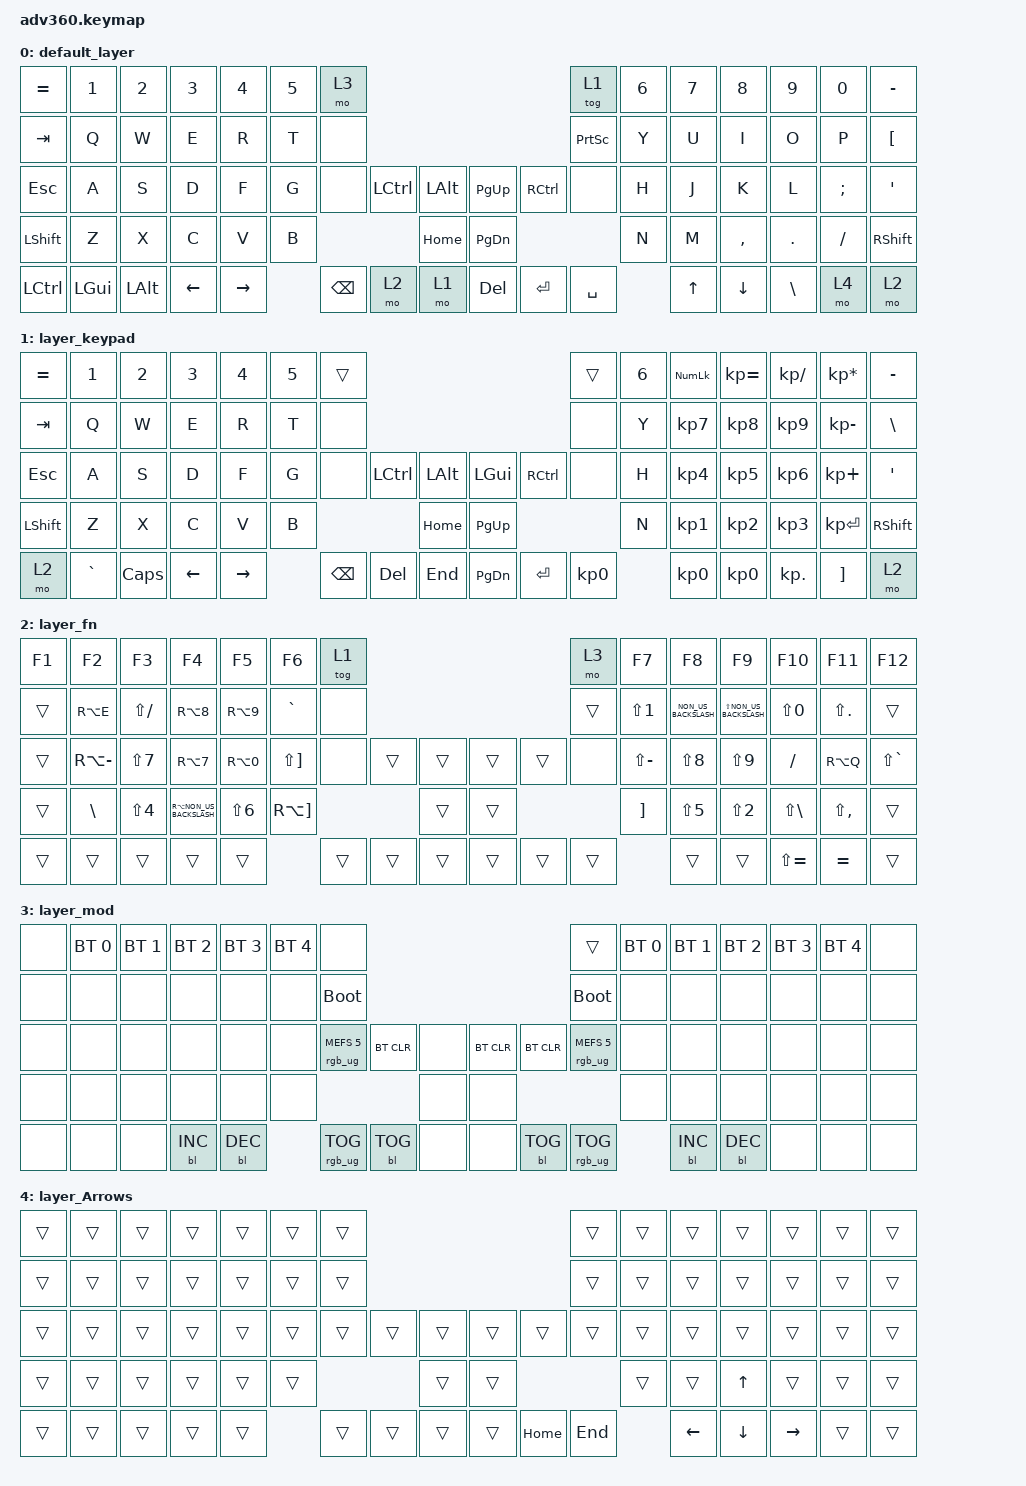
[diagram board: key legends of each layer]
/*
 * Copyright (c) 2020 The ZMK Contributors
 *
 * SPDX-License-Identifier: MIT
 */
/* THIS FILE WAS GENERATED!
 *
 * This file was generated automatically. You may or may not want to
 * edit it directly.
 */

#include <behaviors.dtsi>
#include <dt-bindings/zmk/backlight.h>
#include <dt-bindings/zmk/bt.h>
#include <dt-bindings/zmk/keys.h>
#include <dt-bindings/zmk/rgb.h>

/ {
    behaviors {
        #include "macros.dtsi"

        hm: homerow_mods {
            compatible = "zmk,behavior-hold-tap";
            label = "HOMEROW_MODS";
            #binding-cells = <2>;
            tapping-term-ms = <200>;
            quick_tap_ms = <175>;
            flavor = "tap-preferred";
            bindings = <&kp>, <&kp>;
        };
    };

    keymap {
        compatible = "zmk,keymap";

        default_layer {
            bindings = <
&kp EQUAL  &kp N1    &kp N2        &kp N3    &kp N4     &kp N5  &mo 3                                                    &tog 1           &kp N6  &kp N7  &kp N8     &kp N9    &kp N0    &kp MINUS
&kp TAB    &kp Q     &kp W         &kp E     &kp R      &kp T   &none                                                    &kp PRINTSCREEN  &kp Y   &kp U   &kp I      &kp O     &kp P     &kp LBKT
&kp ESC    &kp A     &kp S         &kp D     &kp F      &kp G   &none     &kp LCTRL  &kp LALT      &kp PG_UP  &kp RCTRL  &none            &kp H   &kp J   &kp K      &kp L     &kp SEMI  &kp SQT
&kp LSHFT  &kp Z     &kp X         &kp C     &kp V      &kp B                        &kp HOME      &kp PG_DN                              &kp N   &kp M   &kp COMMA  &kp DOT   &kp FSLH  &kp RSHFT
&kp LCTRL  &kp LGUI  &kp LEFT_ALT  &kp LEFT  &kp RIGHT          &kp BSPC  &mo 2      &mo 1         &kp DEL    &kp ENTER  &kp SPACE                &kp UP  &kp DOWN   &kp BSLH  &mo 4     &mo 2
            >;
        };

        layer_keypad {
            bindings = <
&kp EQUAL  &kp N1     &kp N2    &kp N3    &kp N4     &kp N5  &trans                                                   &trans     &kp N6  &kp KP_NUM  &kp KP_EQUAL  &kp KP_DIVIDE  &kp KP_MULTIPLY  &kp MINUS
&kp TAB    &kp Q      &kp W     &kp E     &kp R      &kp T   &none                                                    &none      &kp Y   &kp KP_N7   &kp KP_N8     &kp KP_N9      &kp KP_MINUS     &kp BSLH
&kp ESC    &kp A      &kp S     &kp D     &kp F      &kp G   &none     &kp LCTRL  &kp LALT      &kp LGUI   &kp RCTRL  &none      &kp H   &kp KP_N4   &kp KP_N5     &kp KP_N6      &kp KP_PLUS      &kp SQT
&kp LSHFT  &kp Z      &kp X     &kp C     &kp V      &kp B                        &kp HOME      &kp PG_UP                        &kp N   &kp KP_N1   &kp KP_N2     &kp KP_N3      &kp KP_ENTER     &kp RSHFT
&mo 2      &kp GRAVE  &kp CAPS  &kp LEFT  &kp RIGHT          &kp BSPC  &kp DEL    &kp END       &kp PG_DN  &kp ENTER  &kp KP_N0          &kp KP_N0   &kp KP_N0     &kp KP_DOT     &kp RBKT         &mo 2
            >;
        };

        layer_fn {
            bindings = <
&kp F1  &kp F2         &kp F3        &kp F4                    &kp F5      &kp F6                 &tog 1                                      &mo 3   &kp F7         &kp F8                &kp F9                    &kp F10        &kp F11        &kp F12
&trans  &kp RA(E)      &kp LS(FSLH)  &kp RA(N8)                &kp RA(N9)  &kp GRAVE              &none                                       &trans  &kp LS(N1)     &kp NON_US_BACKSLASH  &kp LS(NON_US_BACKSLASH)  &kp LS(N0)     &kp LS(DOT)    &trans
&trans  &kp RA(MINUS)  &kp LS(N7)    &kp RA(N7)                &kp RA(N0)  &kp LS(RBKT)           &none   &trans  &trans      &trans  &trans  &none   &kp LS(MINUS)  &kp LS(N8)            &kp LS(N9)                &kp FSLH       &kp RA(Q)      &kp LS(GRAVE)
&trans  &kp BSLH       &kp LS(N4)    &kp RA(NON_US_BACKSLASH)  &kp LS(N6)  &kp RA(RIGHT_BRACKET)                  &trans      &trans                  &kp RBKT       &kp LS(N5)            &kp LS(N2)                &kp LS(BSLH)   &kp LS(COMMA)  &trans
&trans  &trans         &trans        &trans                    &trans                             &trans  &trans  &trans      &trans  &trans  &trans                 &trans                &trans                    &kp LS(EQUAL)  &kp EQUAL      &trans
            >;
        };

        layer_mod {
            bindings = <
&none  &bt BT_SEL 0  &bt BT_SEL 1  &bt BT_SEL 2  &bt BT_SEL 3  &bt BT_SEL 4  &none                                                                  &trans                  &bt BT_SEL 0  &bt BT_SEL 1  &bt BT_SEL 2  &bt BT_SEL 3  &bt BT_SEL 4  &none
&none  &none         &none         &none         &none         &none         &bootloader                                                            &bootloader             &none         &none         &none         &none         &none         &none
&none  &none         &none         &none         &none         &none         &rgb_ug RGB_MEFS_CMD 5  &bt BT_CLR  &none      &bt BT_CLR  &bt BT_CLR  &rgb_ug RGB_MEFS_CMD 5  &none         &none         &none         &none         &none         &none
&none  &none         &none         &none         &none         &none                                             &none      &none                                           &none         &none         &none         &none         &none         &none
&none  &none         &none         &bl BL_INC    &bl BL_DEC                  &rgb_ug RGB_TOG         &bl BL_TOG  &none      &none       &bl BL_TOG  &rgb_ug RGB_TOG                       &bl BL_INC    &bl BL_DEC    &none         &none         &none
            >;
        };

        layer_Arrows {
            bindings = <
&trans  &trans  &trans  &trans  &trans  &trans  &trans                                        &trans   &trans  &trans          &trans          &trans           &trans  &trans
&trans  &trans  &trans  &trans  &trans  &trans  &trans                                        &trans   &trans  &trans          &trans          &trans           &trans  &trans
&trans  &trans  &trans  &trans  &trans  &trans  &trans  &trans  &trans      &trans  &trans    &trans   &trans  &trans          &trans          &trans           &trans  &trans
&trans  &trans  &trans  &trans  &trans  &trans                  &trans      &trans                     &trans  &trans          &kp UP_ARROW    &trans           &trans  &trans
&trans  &trans  &trans  &trans  &trans          &trans  &trans  &trans      &trans  &kp HOME  &kp END          &kp LEFT_ARROW  &kp DOWN_ARROW  &kp RIGHT_ARROW  &trans  &trans
            >;
        };
    };
};
